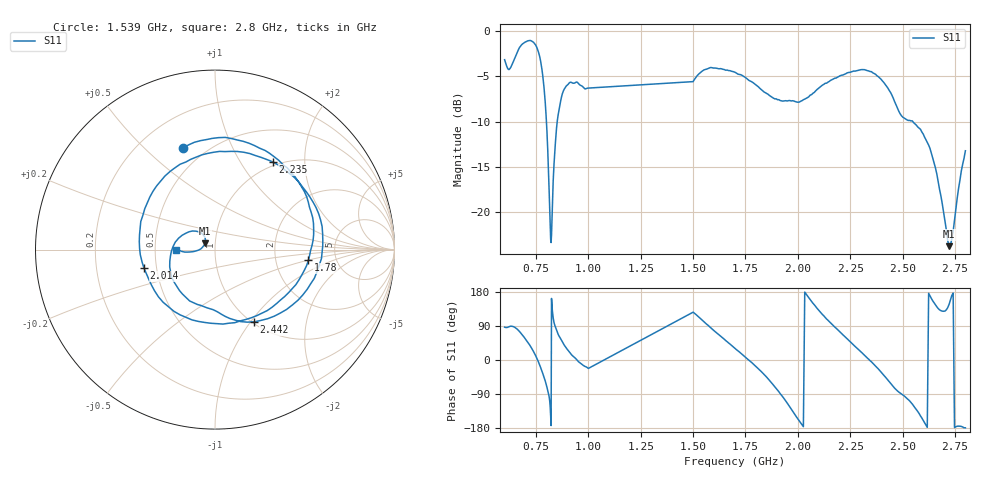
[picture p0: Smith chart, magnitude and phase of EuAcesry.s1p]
!File created by NanoVNA
# Hz S RI R 50
!LO
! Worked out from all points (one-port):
!   402 points, 600 MHz to 2.8 GHz, reference 50 ohm
!   lowest |S11| = -23.7 dB at 2.722 GHz (marker M1), VSWR 1.14, Z = 44.7 + j3.23 ohm
!   |S11| at or under -10 dB: 799.7 MHz to 851.2 MHz (51.5 MHz wide, 6.24 % of centre); 2.549 GHz to end of sweep
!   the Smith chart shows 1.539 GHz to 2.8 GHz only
!   S11 on the Smith chart (normalised r, x): 1.539 GHz: 0.38, +0.66; 1.78 GHz: 3.11, -0.51; 2.014 GHz: 0.43, -0.11; 2.235 GHz: 0.94, +1.40; 2.442 GHz: 1.02, -1.04; 2.8 GHz: 0.64, -0.01
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6e8  0.0402 0.6914
6.48e8  0.0431 0.7015
6.9e8  0.3966 0.7556
7.48e8  0.8173 0.1686
7.86e8  0.3843 -0.3426
8.22e8  -0.0678 -0.00822
8.46e8  0.039 0.2715
8.76e8  0.3052 0.3323
9.18e8  0.5022 0.1347
9.96e8  0.4522 -0.1705
1e9  0.4477 -0.1825
1.5e9  -0.3098 0.4235
1.513e9  -0.2796 0.477
1.539e9  -0.178 0.5666
1.7015e9  0.5114 0.2932
1.7795e9  0.5204 -0.0598
1.8965e9  0.1101 -0.4072
1.981e9  -0.3152 -0.263
2.0135e9  -0.3957 -0.1034
2.1305e9  -0.1945 0.4755
2.2345e9  0.3232 0.4881
2.254e9  0.4116 0.4269
2.3515e9  0.5932 -0.0499
2.4425e9  0.2184 -0.4023
2.527e9  -0.0795 -0.3107
2.631e9  -0.2211 0.0419
2.722e9  -0.0544 0.0359
2.8e9  -0.2184 -0.00412
